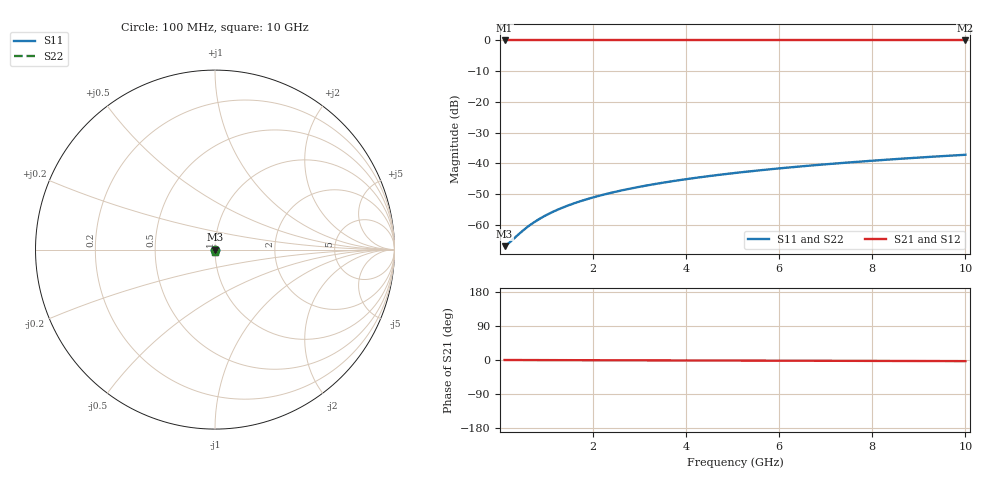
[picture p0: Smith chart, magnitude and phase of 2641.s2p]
# Hz S RI R 50.00
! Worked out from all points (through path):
!   100 points, 100 MHz to 10 GHz, reference 50 ohm
!   highest |S21| = 0.00 dB at 100 MHz (marker M1); lowest = 0.0 dB at 10 GHz (marker M2)
!   lowest |S11| = -67.0 dB at 100 MHz (marker M3), VSWR 1.00, Z = 50 - j0.0138 ohm
!   |S11| at or under -10 dB: start of sweep to end of sweep
!   |S22| runs from -67.0 to -37.2 dB; largest |S21 - S12| = 0
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1e8  0.000427 -0.000138  0.9996 -0.00052  0.9996 -0.00052  0.000427 -0.000138
2e8  0.000429 -0.000276  0.9996 -0.00104  0.9996 -0.00104  0.000429 -0.000276
4e8  0.000432 -0.000551  0.9996 -0.00208  0.9996 -0.00208  0.000432 -0.000551
5e8  0.000432 -0.000689  0.9996 -0.0026  0.9996 -0.0026  0.000432 -0.000689
6e8  0.000432 -0.000827  0.9996 -0.00312  0.9996 -0.00312  0.000432 -0.000827
7e8  0.000432 -0.000965  0.9996 -0.00364  0.9996 -0.00364  0.000432 -0.000965
9e8  0.000432 -0.00124  0.9995 -0.00468  0.9995 -0.00468  0.000432 -0.00124
1.1e9  0.00043 -0.00152  0.9995 -0.00572  0.9995 -0.00572  0.00043 -0.00152
1.3e9  0.000428 -0.00179  0.9995 -0.00676  0.9995 -0.00676  0.000428 -0.00179
1.5e9  0.000425 -0.00207  0.9995 -0.0078  0.9995 -0.0078  0.000425 -0.00207
1.8e9  0.000419 -0.00248  0.9995 -0.00936  0.9995 -0.00936  0.000419 -0.00248
2.1e9  0.000411 -0.00289  0.9995 -0.0109  0.9995 -0.0109  0.000411 -0.00289
2.5e9  0.000399 -0.00345  0.9994 -0.013  0.9994 -0.013  0.000399 -0.00345
2.9e9  0.000385 -0.004  0.9994 -0.0151  0.9994 -0.0151  0.000385 -0.004
3.4e9  0.000364 -0.00469  0.9994 -0.0177  0.9994 -0.0177  0.000364 -0.00469
4.2e9  0.000322 -0.00579  0.9993 -0.0218  0.9993 -0.0218  0.000322 -0.00579
5.1e9  0.000264 -0.00703  0.9991 -0.0265  0.9991 -0.0265  0.000264 -0.00703
5.9e9  0.000202 -0.00813  0.999 -0.0307  0.999 -0.0307  0.000202 -0.00813
6.7e9  0.000131 -0.00924  0.9989 -0.0348  0.9989 -0.0348  0.000131 -0.00924
7.5e9  5.09e-05 -0.0103  0.9987 -0.039  0.9987 -0.039  5.09e-05 -0.0103
8.4e9  -5.01e-05 -0.0116  0.9985 -0.0437  0.9985 -0.0437  -5.01e-05 -0.0116
1e10  -0.000259 -0.0138  0.998 -0.052  0.998 -0.052  -0.000259 -0.0138
